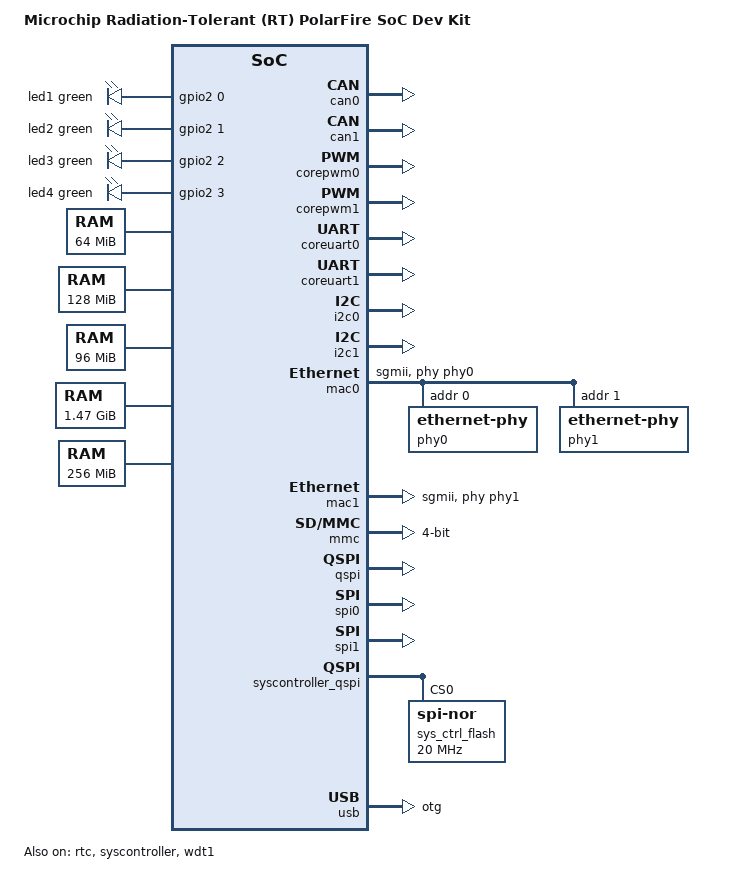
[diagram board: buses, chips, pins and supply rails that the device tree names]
// SPDX-License-Identifier: (GPL-2.0 OR MIT)
/* Copyright (c) 2020-2026 Microchip Technology Inc */

/dts-v1/;

#include "mpfs.dtsi"
#include "rtpfs-dev-kit-fabric.dtsi"
#include <dt-bindings/gpio/gpio.h>
#include <dt-bindings/leds/common.h>

/ {
	#address-cells = <2>;
	#size-cells = <2>;
	model = "Microchip Radiation-Tolerant (RT) PolarFire SoC Dev Kit";
	compatible = "microchip,rtpfs-dev-kit-reference-rtl-v2610",
		     "microchip,rtpfs-dev-kit",
		     "microchip,rtpfs",
		     "microchip,mpfs";

	soc {
		dma-ranges = <0x14 0x0 0x0 0x80000000 0x0 0x4000000>,
			     <0x14 0x4000000 0x0 0xc4000000 0x0 0x6000000>,
			     <0x14 0xa000000 0x0 0x8a000000 0x0 0x8000000>,
			     <0x14 0x12000000 0x14 0x12000000 0x0 0x10000000>,
			     <0x14 0x22000000 0x10 0x22000000 0x0 0x5e000000>;
	};

	aliases {
		ethernet0 = &mac1;
		serial0 = &mmuart0;
		serial1 = &mmuart1;
		serial2 = &mmuart2;
		serial3 = &mmuart3;
		serial4 = &coreuart0;
		serial5 = &coreuart1;
	};

	chosen {
		stdout-path = "serial1:115200n8";
	};

	leds {
		compatible = "gpio-leds";

		led-1 {
			gpios = <&gpio2 0 GPIO_ACTIVE_HIGH>;
			color = <LED_COLOR_ID_GREEN>;
			label = "led1";
		};

		led-2 {
			gpios = <&gpio2 1 GPIO_ACTIVE_HIGH>;
			color = <LED_COLOR_ID_GREEN>;
			label = "led2";
		};

		led-3 {
			gpios = <&gpio2 2 GPIO_ACTIVE_HIGH>;
			color = <LED_COLOR_ID_GREEN>;
			label = "led3";
		};

		led-4 {
			gpios = <&gpio2 3 GPIO_ACTIVE_HIGH>;
			color = <LED_COLOR_ID_GREEN>;
			label = "led4";
		};
	};

	kernel: memory@80000000 {
		device_type = "memory";
		reg = <0x0 0x80000000 0x0 0x4000000>;
	};

	ddr_cached_low: memory@8a000000 {
		device_type = "memory";
		reg = <0x0 0x8a000000 0x0 0x8000000>;
	};

	ddr_non_cached_low: memory@c4000000 {
		device_type = "memory";
		reg = <0x0 0xc4000000 0x0 0x6000000>;
	};

	ddr_cached_high: memory@1022000000 {
		device_type = "memory";
		reg = <0x10 0x22000000 0x0 0x5e000000>;
	};

	ddr_non_cached_high: memory@1412000000 {
		device_type = "memory";
		reg = <0x14 0x12000000 0x0 0x10000000>;
	};

	reserved-memory {
		#address-cells = <2>;
		#size-cells = <2>;
		ranges;

		hss: hss-buffer@103fc00000 {
			compatible = "shared-dma-pool";
			reg = <0x10 0x3fc00000 0x0 0x400000>;
			no-map;
		};

		dma_non_cached_low: non-cached-low-buffer {
			compatible = "shared-dma-pool";
			size = <0x0 0x4000000>;
			no-map;
			alloc-ranges = <0x0 0xc4000000 0x0 0x4000000>;
		};

		dma_non_cached_high: non-cached-high-buffer {
			compatible = "shared-dma-pool";
			size = <0x0 0x10000000>;
			no-map;
			linux,dma-default;
			alloc-ranges = <0x14 0x12000000 0x0 0x10000000>;
		};

		fabricbuf0ddrc: buffer@88000000 {
			compatible = "shared-dma-pool";
			reg = <0x0 0x88000000 0x0 0x2000000>;
			no-map;
		};

		fabricbuf1ddrnc: buffer@c8000000 {
			compatible = "shared-dma-pool";
			reg = <0x0 0xc8000000 0x0 0x2000000>;
			no-map;
		};

		fabricbuf2ddrncwcb: buffer@d8000000 {
			compatible = "shared-dma-pool";
			reg = <0x0 0xd8000000 0x0 0x2000000>;
			no-map;
		};
	};

	udmabuf0 {
		compatible = "ikwzm,u-dma-buf";
		device-name = "udmabuf-ddr-c0";
		minor-number = <0>;
		size = <0x0 0x2000000>;
		memory-region = <&fabricbuf0ddrc>;
		sync-mode = <3>;
	};

	udmabuf1 {
		compatible = "ikwzm,u-dma-buf";
		device-name = "udmabuf-ddr-nc0";
		minor-number = <1>;
		size = <0x0 0x2000000>;
		memory-region = <&fabricbuf1ddrnc>;
		sync-mode = <3>;
	};

	udmabuf2 {
		compatible = "ikwzm,u-dma-buf";
		device-name = "udmabuf-ddr-nc-wcb0";
		minor-number = <2>;
		size = <0x0 0x2000000>;
		memory-region = <&fabricbuf2ddrncwcb>;
		sync-mode = <3>;
	};
};

&can0 {
	status = "okay";
};

&can1 {
	status = "okay";
};

&corepwm0 {
	status = "okay";
};

&corepwm1 {
	status = "okay";
};

&coreuart0 {
	status = "okay";
};

&coreuart1 {
	status = "okay";
};

&fpgadma {
	status = "okay";
};

&fpgalsram {
	status = "okay";
};

&gpio2 {
	status = "okay";
};

&i2c0 {
	status = "okay";
};

&i2c1 {
	status = "okay";
};

&mac0 {
	dma-noncoherent;
	status = "okay";
	phy-mode = "sgmii";
	phy-handle = <&phy0>;

	phy0: ethernet-phy@0 {
		reg = <0>;
	};

	phy1: ethernet-phy@1 {
		reg = <1>;
	};
};

&mac1 {
	dma-noncoherent;
	status = "okay";
	phy-mode = "sgmii";
	phy-handle = <&phy1>;
};

&mbox {
	status = "okay";
};

&mmc {
	dma-noncoherent;
	bus-width = <4>;
	disable-wp;
	cap-sd-highspeed;
	cap-mmc-highspeed;
	mmc-ddr-1_8v;
	mmc-hs200-1_8v;
	sd-uhs-sdr12;
	sd-uhs-sdr25;
	sd-uhs-sdr50;
	sd-uhs-sdr104;
	status = "okay";
};

&mmuart1 {
	status = "okay";
};

&mmuart2 {
	status = "okay";
};

&mmuart3 {
	status = "okay";
};

&qspi {
	status = "okay";
};

&refclk {
	clock-frequency = <125000000>;
};

&refclk_ccc {
	clock-frequency = <50000000>;
};

&rtc {
	status = "okay";
};

&spi0 {
	status = "okay";
};

&spi1 {
	status = "okay";
};

&syscontroller {
	status = "okay";
};

&syscontroller_qspi {

	status = "okay";

	sys_ctrl_flash: flash@0 { // MT25QL01GBBB8ESF-0SIT
		compatible = "jedec,spi-nor";
		#address-cells = <1>;
		#size-cells = <1>;
		spi-max-frequency = <20000000>;
		spi-rx-bus-width = <1>;
		reg = <0>;
	};
};

&usb {
	dma-noncoherent;
	status = "okay";
	dr_mode = "otg";
};

&wdt1 {
	status = "okay";
};
